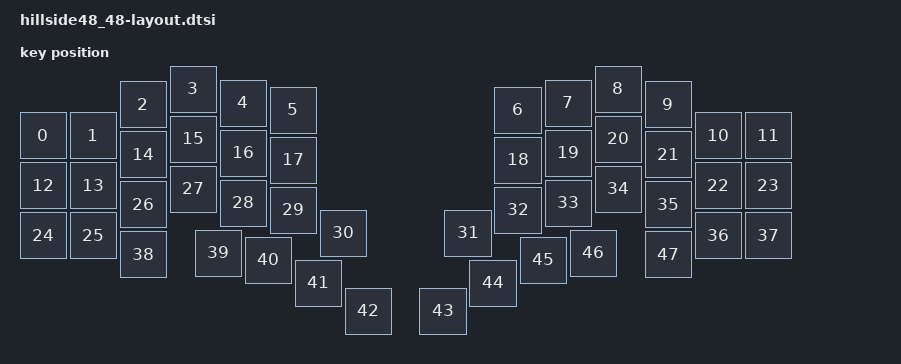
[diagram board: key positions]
#include <physical_layouts.dtsi>

/ {
    physical_layout_hillside48_48: physical_layout_hillside48_48 {
        compatible = "zmk,physical-layout";
        display-name = "Hillside48 (48)";

        keys  //                     w   h    x    y     rot    rx    ry
            = <&key_physical_attrs 100 100    0   93       0     0     0>
            , <&key_physical_attrs 100 100  100   93       0     0     0>
            , <&key_physical_attrs 100 100  200   31       0     0     0>
            , <&key_physical_attrs 100 100  300    0       0     0     0>
            , <&key_physical_attrs 100 100  400   28       0     0     0>
            , <&key_physical_attrs 100 100  500   42       0     0     0>
            , <&key_physical_attrs 100 100  950   42       0     0     0>
            , <&key_physical_attrs 100 100 1050   28       0     0     0>
            , <&key_physical_attrs 100 100 1150    0       0     0     0>
            , <&key_physical_attrs 100 100 1250   31       0     0     0>
            , <&key_physical_attrs 100 100 1350   93       0     0     0>
            , <&key_physical_attrs 100 100 1450   93       0     0     0>
            , <&key_physical_attrs 100 100    0  193       0     0     0>
            , <&key_physical_attrs 100 100  100  193       0     0     0>
            , <&key_physical_attrs 100 100  200  131       0     0     0>
            , <&key_physical_attrs 100 100  300  100       0     0     0>
            , <&key_physical_attrs 100 100  400  128       0     0     0>
            , <&key_physical_attrs 100 100  500  142       0     0     0>
            , <&key_physical_attrs 100 100  950  142       0     0     0>
            , <&key_physical_attrs 100 100 1050  128       0     0     0>
            , <&key_physical_attrs 100 100 1150  100       0     0     0>
            , <&key_physical_attrs 100 100 1250  131       0     0     0>
            , <&key_physical_attrs 100 100 1350  193       0     0     0>
            , <&key_physical_attrs 100 100 1450  193       0     0     0>
            , <&key_physical_attrs 100 100    0  293       0     0     0>
            , <&key_physical_attrs 100 100  100  293       0     0     0>
            , <&key_physical_attrs 100 100  200  231       0     0     0>
            , <&key_physical_attrs 100 100  300  200       0     0     0>
            , <&key_physical_attrs 100 100  400  228       0     0     0>
            , <&key_physical_attrs 100 100  500  242       0     0     0>
            , <&key_physical_attrs 100 100  600  288       0     0     0>
            , <&key_physical_attrs 100 100  850  288       0     0     0>
            , <&key_physical_attrs 100 100  950  242       0     0     0>
            , <&key_physical_attrs 100 100 1050  228       0     0     0>
            , <&key_physical_attrs 100 100 1150  200       0     0     0>
            , <&key_physical_attrs 100 100 1250  231       0     0     0>
            , <&key_physical_attrs 100 100 1350  293       0     0     0>
            , <&key_physical_attrs 100 100 1450  293       0     0     0>
            , <&key_physical_attrs 100 100  200  331       0     0     0>
            , <&key_physical_attrs 100 100  350  328       0     0     0>
            , <&key_physical_attrs 100 100  450  342       0     0     0>
            , <&key_physical_attrs 100 100  550  388       0     0     0>
            , <&key_physical_attrs 100 100  650  444       0     0     0>
            , <&key_physical_attrs 100 100  800  444       0     0     0>
            , <&key_physical_attrs 100 100  900  388       0     0     0>
            , <&key_physical_attrs 100 100 1000  342       0     0     0>
            , <&key_physical_attrs 100 100 1100  328       0     0     0>
            , <&key_physical_attrs 100 100 1250  331       0     0     0>
            ;
    };
};
